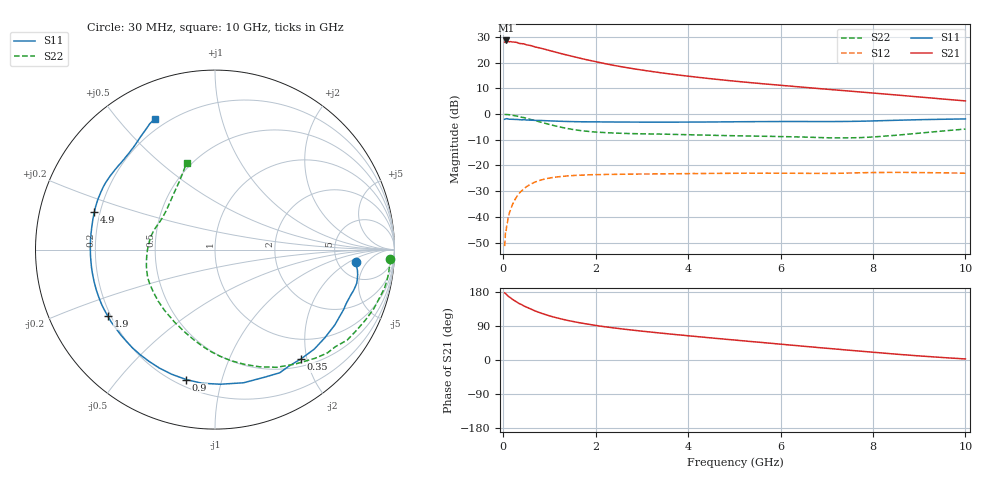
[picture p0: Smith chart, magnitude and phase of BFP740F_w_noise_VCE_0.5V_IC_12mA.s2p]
! Infineon Technologies  Discrete & RF Semiconductors
! BFP740F
! VCE =  0.5 V,  IC =  12 mA
! Common Emitter S-Parameters:  Oct 2012
# GHz  S  MA  R  50
!  f  S11  S21  S12  S22
! GHz  MAG  ANG  MAG  ANG  MAG  ANG  MAG  ANG
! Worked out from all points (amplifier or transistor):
!   99 points, 30 MHz to 10 GHz, reference 50 ohm
!   highest |S21| = 28.6 dB at 70 MHz (marker M1)
!   |S21| within 3 dB of that: start of sweep to 808.6 MHz
!   unconditionally stable (mu >= 1): 6.358 GHz to end of sweep
!   at 350 MHz: K = 0.04, MSG = 29.1 dB, |S12| = -30.8 dB
!   at 3.5 GHz: K = 0.56, MSG = 19.5 dB, |S12| = -23.3 dB
!   at 10 GHz: K = 1.37, MAG = 10.4 dB, |S12| = -23.0 dB
!   lowest NFmin = 0.48 dB at 450 MHz
!   S11 on the Smith chart (normalised r, x): 30 MHz: 7.46, -2.78; 350 MHz: 0.62, -1.90; 900 MHz: 0.24, -0.77; 1.9 GHz: 0.19, -0.28; 4.9 GHz: 0.18, +0.15; 10 GHz: 0.15, +0.63
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0.03  0.7897 -5.1  24.87 177.2  0.0027 84.6  0.9779 -3.0
0.05  0.802 -8.3  26.19 175.3  0.0053 92.5  0.9782 -5.1
0.07  0.8096 -11.6  26.84 172.9  0.006 85.4  0.9761 -7.2
0.13  0.7912 -21.8  25.32 166.4  0.0117 79.9  0.9648 -13.7
0.2  0.7886 -32.1  25.09 160.0  0.0174 75.5  0.9438 -20.5
0.3  0.7832 -45.1  24.54 152.5  0.0253 69.0  0.9074 -29.8
0.35  0.7748 -51.8  23.46 148.7  0.0289 66.1  0.8925 -34.4
0.45  0.7752 -62.3  23.07 142.5  0.0353 60.5  0.8506 -42.6
0.6  0.7588 -77.9  21.31 134.4  0.0436 52.2  0.7787 -55.0
0.7  0.7507 -87.6  19.97 129.0  0.0481 48.0  0.7406 -62.3
0.9  0.7415 -102.5  18.12 120.4  0.0546 40.1  0.6607 -75.5
1.1  0.7291 -115.2  16.2 113.1  0.0589 33.9  0.5943 -87.4
1.3  0.7186 -125.6  14.53 107.0  0.0615 29.1  0.5415 -97.6
1.7  0.7051 -141.8  11.9 97.3  0.0648 22.1  0.4719 -115.3
1.9  0.7029 -148.1  10.87 93.3  0.066 19.5  0.4525 -122.8
2.4  0.6986 -160.9  8.778 84.5  0.0671 14.6  0.4275 -137.8
3.4  0.6945 -178.0  6.345 71.1  0.0685 9.0  0.4067 -156.5
4.9  0.704 162.6  4.44 53.8  0.0703 3.6  0.3795 -176.8
5.1  0.7068 160.4  4.266 51.6  0.0705 3.1  0.3765 -179.6
6.7  0.7128 142.4  3.189 34.2  0.07 -1.1  0.3518 159.1
8.5  0.7542 123.2  2.342 15.4  0.0733 -4.8  0.3858 126.8
10  0.8021 114.8  1.796 2.8  0.0707 -8.5  0.5098 108.1
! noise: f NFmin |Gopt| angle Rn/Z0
0.45  0.48  0.16  5  0.24
0.9  0.53  0.17  13  0.13
1.5  0.6  0.18  23  0.06
1.9  0.64  0.17  33  0.05
2.4  0.69  0.17  47  0.05
3.5  0.8  0.14  69  0.13
5.5  0.99  0.09  140  0.21
10  1.39  0.38  -115  0.11
